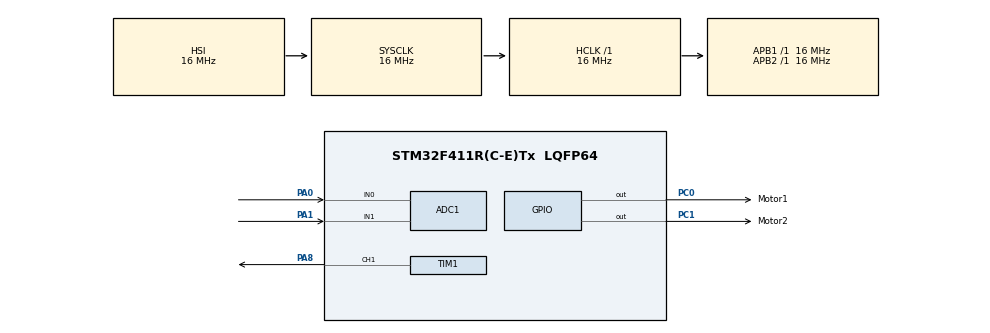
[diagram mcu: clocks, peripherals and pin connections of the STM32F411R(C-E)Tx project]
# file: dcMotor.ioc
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ADC1.Channel-0\#ChannelRegularConversion=ADC_CHANNEL_0
ADC1.ContinuousConvMode=ENABLE
ADC1.DMAContinuousRequests=ENABLE
ADC1.NbrOfConversionFlag=1
ADC1.Rank-0\#ChannelRegularConversion=1
ADC1.SamplingTime-0\#ChannelRegularConversion=ADC_SAMPLETIME_3CYCLES
ADC1.master=1
Dma.ADC1.0.Direction=DMA_PERIPH_TO_MEMORY
Dma.ADC1.0.FIFOMode=DMA_FIFOMODE_DISABLE
Dma.ADC1.0.Instance=DMA2_Stream0
Dma.ADC1.0.MemDataAlignment=DMA_MDATAALIGN_HALFWORD
Dma.ADC1.0.MemInc=DMA_MINC_ENABLE
Dma.ADC1.0.Mode=DMA_CIRCULAR
Dma.ADC1.0.PeriphDataAlignment=DMA_PDATAALIGN_HALFWORD
Dma.ADC1.0.PeriphInc=DMA_PINC_DISABLE
Dma.ADC1.0.Priority=DMA_PRIORITY_LOW
Dma.Request0=ADC1
Mcu.Family=STM32F4
Mcu.Name=STM32F411R(C-E)Tx
Mcu.Package=LQFP64
NVIC.DMA2_Stream0_IRQn=true\:0\:0\:false\:false\:true\:false\:true\:true
NVIC.PriorityGroup=NVIC_PRIORITYGROUP_4
PA0-WKUP.Signal=ADCx_IN0
PA1.Signal=ADCx_IN1
PA8.Signal=S_TIM1_CH1
PC0.GPIO_Label=Motor1
PC0.Signal=GPIO_Output
PC1.GPIO_Label=Motor2
PC1.Signal=GPIO_Output
ProjectManager.HeapSize=0x200
ProjectManager.StackSize=0x400
ProjectManager.TargetToolchain=STM32CubeIDE
RCC.AHBFreq_Value=16000000
RCC.APB1Freq_Value=16000000
RCC.APB2Freq_Value=16000000
RCC.CortexFreq_Value=16000000
RCC.HSE_VALUE=25000000
RCC.HSI_VALUE=16000000
RCC.LSE_VALUE=32768
RCC.SYSCLKFreq_VALUE=16000000
RCC.VCOOutputFreq_Value=192000000
SH.ADCx_IN0.0=ADC1_IN0,IN0
SH.ADCx_IN1.0=ADC1_IN1,IN1
SH.S_TIM1_CH1.0=TIM1_CH1,PWM Generation1 CH1
TIM1.Channel-PWM\ Generation1\ CH1=TIM_CHANNEL_1
TIM1.Period=1000-1
TIM1.Prescaler=16-1
TIM1.Pulse-PWM\ Generation1\ CH1=500-1
VP_TIM1_VS_ClockSourceINT.Mode=Internal
board=custom

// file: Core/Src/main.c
/* USER CODE BEGIN Header */
/**
  ******************************************************************************
  * @file           : main.c
  * @brief          : Main program body
  ******************************************************************************
  * @attention
  *
  * Copyright (c) 2023 STMicroelectronics.
  * All rights reserved.
  *
  * This software is licensed under terms that can be found in the LICENSE file
  * in the root directory of this software component.
  * If no LICENSE file comes with this software, it is provided AS-IS.
  *
  ******************************************************************************
  */
/* USER CODE END Header */
#include "main.h"

ADC_HandleTypeDef hadc1;
DMA_HandleTypeDef hdma_adc1;

TIM_HandleTypeDef htim1;

void SystemClock_Config(void);
static void MX_GPIO_Init(void);
static void MX_DMA_Init(void);
static void MX_ADC1_Init(void);
static void MX_TIM1_Init(void);

/* USER CODE BEGIN 0 */
long map(long x, long in_min, long in_max, long out_min, long out_max) {
  return (x - in_min) * (out_max - out_min) / (in_max - in_min) + out_min;
}

void setPwm(int value) {
	htim1.Instance->CCR1 = value;
}

void setMotorStop() {
  HAL_GPIO_WritePin(Motor1_GPIO_Port, Motor1_Pin, 0);
  HAL_GPIO_WritePin(Motor2_GPIO_Port, Motor2_Pin, 0);
  setPwm(0);
}

void setMotorStart(int dir, int pwm) {
	if(dir) {
	  HAL_GPIO_WritePin(Motor1_GPIO_Port, Motor1_Pin, 1);
	  HAL_GPIO_WritePin(Motor2_GPIO_Port, Motor2_Pin, 0);
	}
	else {
	  HAL_GPIO_WritePin(Motor1_GPIO_Port, Motor1_Pin, 0);
	  HAL_GPIO_WritePin(Motor2_GPIO_Port, Motor2_Pin, 1);
	}
	setPwm(pwm);
}
/* USER CODE END 0 */

int main(void)
{

  /* MCU Configuration--------------------------------------------------------*/

  /* Reset of all peripherals, Initializes the Flash interface and the Systick. */
  HAL_Init();

  /* Configure the system clock */
  SystemClock_Config();

  /* Initialize all configured peripherals */
  MX_GPIO_Init();
  MX_DMA_Init();
  MX_ADC1_Init();
  MX_TIM1_Init();
  /* USER CODE BEGIN 2 */
  uint16_t adcValue[2];		// ADC 결과 저장
  HAL_ADC_Start_DMA(&hadc1, adcValue, 2);
  HAL_TIM_PWM_Start(&htim1, TIM_CHANNEL_1);
  setMotorStop();
  /* USER CODE END 2 */

  /* Infinite loop */
  while (1)
  {

    /* USER CODE BEGIN 3 */
  	if(adcValue[0] < 1800) {
  		// 1800 �?�하
  		setMotorStart(1, map(adcValue[0], 0, 1799, 999, 0));
  	}
  	else if(adcValue[0] > 2200) {
  		// 2200 �?��?
  		setMotorStart(0, map(adcValue[0], 2201, 4095, 0, 999));
  	}
  	else {
  		// 1800 ~ 2200 사�?�
  		setMotorStop();
  	}
  }
  /* USER CODE END 3 */
}

void SystemClock_Config(void)
{
  RCC_OscInitTypeDef RCC_OscInitStruct = {0};
  RCC_ClkInitTypeDef RCC_ClkInitStruct = {0};

  /** Configure the main internal regulator output voltage
  */
  __HAL_RCC_PWR_CLK_ENABLE();
  __HAL_PWR_VOLTAGESCALING_CONFIG(PWR_REGULATOR_VOLTAGE_SCALE1);

  /** Initializes the RCC Oscillators according to the specified parameters
  * in the RCC_OscInitTypeDef structure.
  */
  RCC_OscInitStruct.OscillatorType = RCC_OSCILLATORTYPE_HSI;
  RCC_OscInitStruct.HSIState = RCC_HSI_ON;
  RCC_OscInitStruct.HSICalibrationValue = RCC_HSICALIBRATION_DEFAULT;
  RCC_OscInitStruct.PLL.PLLState = RCC_PLL_NONE;
  if (HAL_RCC_OscConfig(&RCC_OscInitStruct) != HAL_OK)
  {
    Error_Handler();
  }

  /** Initializes the CPU, AHB and APB buses clocks
  */
  RCC_ClkInitStruct.ClockType = RCC_CLOCKTYPE_HCLK|RCC_CLOCKTYPE_SYSCLK
                              |RCC_CLOCKTYPE_PCLK1|RCC_CLOCKTYPE_PCLK2;
  RCC_ClkInitStruct.SYSCLKSource = RCC_SYSCLKSOURCE_HSI;
  RCC_ClkInitStruct.AHBCLKDivider = RCC_SYSCLK_DIV1;
  RCC_ClkInitStruct.APB1CLKDivider = RCC_HCLK_DIV1;
  RCC_ClkInitStruct.APB2CLKDivider = RCC_HCLK_DIV1;

  if (HAL_RCC_ClockConfig(&RCC_ClkInitStruct, FLASH_LATENCY_0) != HAL_OK)
  {
    Error_Handler();
  }
}

static void MX_ADC1_Init(void)
{

  ADC_ChannelConfTypeDef sConfig = {0};

  /** Configure the global features of the ADC (Clock, Resolution, Data Alignment and number of conversion)
  */
  hadc1.Instance = ADC1;
  hadc1.Init.ClockPrescaler = ADC_CLOCK_SYNC_PCLK_DIV2;
  hadc1.Init.Resolution = ADC_RESOLUTION_12B;
  hadc1.Init.ScanConvMode = ENABLE;
  hadc1.Init.ContinuousConvMode = ENABLE;
  hadc1.Init.DiscontinuousConvMode = DISABLE;
  hadc1.Init.ExternalTrigConvEdge = ADC_EXTERNALTRIGCONVEDGE_NONE;
  hadc1.Init.ExternalTrigConv = ADC_SOFTWARE_START;
  hadc1.Init.DataAlign = ADC_DATAALIGN_RIGHT;
  hadc1.Init.NbrOfConversion = 2;
  hadc1.Init.DMAContinuousRequests = ENABLE;
  hadc1.Init.EOCSelection = ADC_EOC_SINGLE_CONV;
  if (HAL_ADC_Init(&hadc1) != HAL_OK)
  {
    Error_Handler();
  }

  /** Configure for the selected ADC regular channel its corresponding rank in the sequencer and its sample time.
  */
  sConfig.Channel = ADC_CHANNEL_0;
  sConfig.Rank = 1;
  sConfig.SamplingTime = ADC_SAMPLETIME_480CYCLES;
  if (HAL_ADC_ConfigChannel(&hadc1, &sConfig) != HAL_OK)
  {
    Error_Handler();
  }

  /** Configure for the selected ADC regular channel its corresponding rank in the sequencer and its sample time.
  */
  sConfig.Channel = ADC_CHANNEL_1;
  sConfig.Rank = 2;
  if (HAL_ADC_ConfigChannel(&hadc1, &sConfig) != HAL_OK)
  {
    Error_Handler();
  }

}

static void MX_TIM1_Init(void)
{

  TIM_ClockConfigTypeDef sClockSourceConfig = {0};
  TIM_MasterConfigTypeDef sMasterConfig = {0};
  TIM_OC_InitTypeDef sConfigOC = {0};
  TIM_BreakDeadTimeConfigTypeDef sBreakDeadTimeConfig = {0};

  htim1.Instance = TIM1;
  htim1.Init.Prescaler = 16-1;
  htim1.Init.CounterMode = TIM_COUNTERMODE_UP;
  htim1.Init.Period = 1000-1;
  htim1.Init.ClockDivision = TIM_CLOCKDIVISION_DIV1;
  htim1.Init.RepetitionCounter = 0;
  htim1.Init.AutoReloadPreload = TIM_AUTORELOAD_PRELOAD_DISABLE;
  if (HAL_TIM_Base_Init(&htim1) != HAL_OK)
  {
    Error_Handler();
  }
  sClockSourceConfig.ClockSource = TIM_CLOCKSOURCE_INTERNAL;
  if (HAL_TIM_ConfigClockSource(&htim1, &sClockSourceConfig) != HAL_OK)
  {
    Error_Handler();
  }
  if (HAL_TIM_PWM_Init(&htim1) != HAL_OK)
  {
    Error_Handler();
  }
  sMasterConfig.MasterOutputTrigger = TIM_TRGO_RESET;
  sMasterConfig.MasterSlaveMode = TIM_MASTERSLAVEMODE_DISABLE;
  if (HAL_TIMEx_MasterConfigSynchronization(&htim1, &sMasterConfig) != HAL_OK)
  {
    Error_Handler();
  }
  sConfigOC.OCMode = TIM_OCMODE_PWM1;
  sConfigOC.Pulse = 500-1;
  sConfigOC.OCPolarity = TIM_OCPOLARITY_HIGH;
  sConfigOC.OCNPolarity = TIM_OCNPOLARITY_HIGH;
  sConfigOC.OCFastMode = TIM_OCFAST_DISABLE;
  sConfigOC.OCIdleState = TIM_OCIDLESTATE_RESET;
  sConfigOC.OCNIdleState = TIM_OCNIDLESTATE_RESET;
  if (HAL_TIM_PWM_ConfigChannel(&htim1, &sConfigOC, TIM_CHANNEL_1) != HAL_OK)
  {
    Error_Handler();
  }
  sBreakDeadTimeConfig.OffStateRunMode = TIM_OSSR_DISABLE;
  sBreakDeadTimeConfig.OffStateIDLEMode = TIM_OSSI_DISABLE;
  sBreakDeadTimeConfig.LockLevel = TIM_LOCKLEVEL_OFF;
  sBreakDeadTimeConfig.DeadTime = 0;
  sBreakDeadTimeConfig.BreakState = TIM_BREAK_DISABLE;
  sBreakDeadTimeConfig.BreakPolarity = TIM_BREAKPOLARITY_HIGH;
  sBreakDeadTimeConfig.AutomaticOutput = TIM_AUTOMATICOUTPUT_DISABLE;
  if (HAL_TIMEx_ConfigBreakDeadTime(&htim1, &sBreakDeadTimeConfig) != HAL_OK)
  {
    Error_Handler();
  }
  HAL_TIM_MspPostInit(&htim1);

}

static void MX_DMA_Init(void)
{

  /* DMA controller clock enable */
  __HAL_RCC_DMA2_CLK_ENABLE();

  /* DMA interrupt init */
  /* DMA2_Stream0_IRQn interrupt configuration */
  HAL_NVIC_SetPriority(DMA2_Stream0_IRQn, 0, 0);
  HAL_NVIC_EnableIRQ(DMA2_Stream0_IRQn);

}

static void MX_GPIO_Init(void)
{
  GPIO_InitTypeDef GPIO_InitStruct = {0};

  /* GPIO Ports Clock Enable */
  __HAL_RCC_GPIOC_CLK_ENABLE();
  __HAL_RCC_GPIOA_CLK_ENABLE();

  /*Configure GPIO pin Output Level */
  HAL_GPIO_WritePin(GPIOC, Motor1_Pin|Motor2_Pin, GPIO_PIN_RESET);

  /*Configure GPIO pins : Motor1_Pin Motor2_Pin */
  GPIO_InitStruct.Pin = Motor1_Pin|Motor2_Pin;
  GPIO_InitStruct.Mode = GPIO_MODE_OUTPUT_PP;
  GPIO_InitStruct.Pull = GPIO_NOPULL;
  GPIO_InitStruct.Speed = GPIO_SPEED_FREQ_LOW;
  HAL_GPIO_Init(GPIOC, &GPIO_InitStruct);

}

void Error_Handler(void)
{
  __disable_irq();
  while (1)
  {
  }
}
